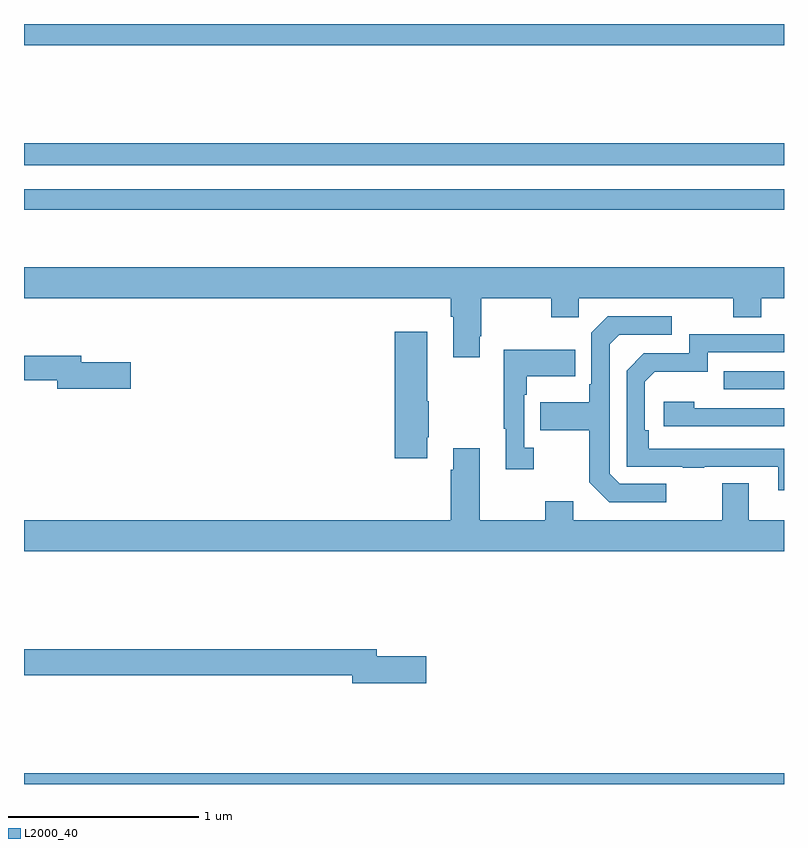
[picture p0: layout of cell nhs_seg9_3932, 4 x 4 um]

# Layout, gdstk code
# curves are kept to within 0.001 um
import gdstk
lib = gdstk.Library(unit=1e-6, precision=1e-09)
def R(c, l, rs):  # rectangles x0, y0, x1, y1
    for r in rs: c.add(gdstk.rectangle(r[:2], r[2:], *l))
def P(c, l, *ps):  # polygons
    for p in ps: c.add(gdstk.Polygon(p, *l))
L2000_40 = (2000, 40)

nhs_seg9_3932 = lib.new_cell('nhs_seg9_3932')
R(nhs_seg9_3932, L2000_40, [(335,1224.5,339,1224.556), (338.683,1226.577,339,1226.673), (335,1227.522,339,1227.63), (335,1227.756,339,1227.872), (335,1228.388,339,1228.5)])
P(nhs_seg9_3932, L2000_40, [(337.399,1226.857),(337.407,1226.857),(337.407,1227.056),(337.774,1227.056),(337.774,1226.957),(337.92,1226.957),(337.92,1227.056),(338.734,1227.056),(338.734,1226.957),(338.881,1226.957),(338.881,1227.056),(339,1227.056),(339,1227.22),(335,1227.22),(335,1227.056),(337.247,1227.056),(337.247,1226.96),(337.259,1226.96),(337.259,1226.745),(337.399,1226.745)],
  [(338.38,1226.079),(338.136,1226.079),(338.082,1226.133),(338.082,1226.814),(338.133,1226.865),(338.41,1226.865),(338.41,1226.961),(338.073,1226.961),(337.986,1226.874),(337.986,1226.605),(337.974,1226.605),(337.974,1226.509),(337.717,1226.509),(337.717,1226.362),(337.974,1226.362),(337.974,1226.089),(338.079,1225.983),(338.38,1225.983)],
  [(337.123,1226.326),(337.131,1226.326),(337.131,1226.515),(337.123,1226.515),(337.123,1226.881),(336.95,1226.881),(336.95,1226.214),(337.123,1226.214)],
  [(339,1226.264),(338.288,1226.265),(338.288,1226.362),(338.268,1226.362),(338.268,1226.616),(338.321,1226.669),(338.598,1226.669),(338.598,1226.772),(339,1226.772),(339,1226.868),(338.502,1226.868),(338.502,1226.766),(338.262,1226.766),(338.172,1226.676),(338.172,1226.169),(338.467,1226.169),(338.467,1226.164),(338.579,1226.164),(338.579,1226.169),(338.969,1226.169),(338.969,1226.046),(339,1226.046)],
  [(337.684,1226.27),(337.632,1226.27),(337.632,1226.549),(337.645,1226.549),(337.645,1226.645),(337.901,1226.645),(337.901,1226.785),(337.524,1226.785),(337.524,1226.369),(337.535,1226.369),(337.535,1226.157),(337.684,1226.157)],
  [(335.563,1226.721),(335.302,1226.721),(335.302,1226.755),(335,1226.755),(335,1226.626),(335.174,1226.626),(335.174,1226.579),(335.563,1226.579)],
  [(339,1226.478),(338.528,1226.478),(338.528,1226.512),(338.367,1226.512),(338.367,1226.382),(339,1226.382)],
  [(339,1225.888),(338.815,1225.888),(338.815,1226.083),(338.675,1226.083),(338.675,1225.888),(337.891,1225.888),(337.891,1225.987),(337.744,1225.987),(337.744,1225.888),(337.399,1225.888),(337.399,1226.266),(337.259,1226.266),(337.259,1226.153),(337.247,1226.153),(337.247,1225.888),(335,1225.888),(335,1225.724),(339,1225.724)],
  [(337.117,1225.172),(336.856,1225.172),(336.856,1225.208),(335,1225.208),(335,1225.072),(336.728,1225.072),(336.728,1225.03),(337.117,1225.03)])

lib.write_gds('nhs_seg9_3932.gds')
